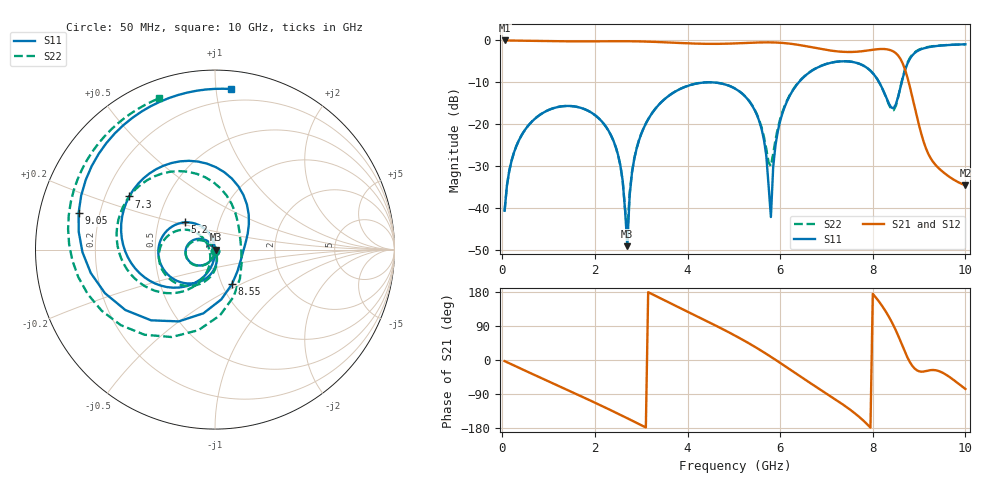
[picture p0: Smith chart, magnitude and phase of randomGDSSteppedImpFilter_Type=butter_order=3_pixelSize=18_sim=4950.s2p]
! freq	dB(S11)	phase(S11)	dB(S12)	phase(S12)
!  dB(S21)	phase(S21)	dB(S22)	phase(S22)
!S-par simulation data
#  GHz  S  DB  R 50
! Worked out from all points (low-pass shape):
!   200 points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, 50 MHz to 10 GHz, reference 50 ohm
!   highest |S21| = -0.01 dB at 50 MHz (marker M1); lowest = -34.6 dB at 10 GHz (marker M2)
!   |S21| within 3 dB of the highest: start of sweep to 8.494 GHz
!   lowest |S11| = -49.1 dB at 2.7 GHz (marker M3), VSWR 1.01, Z = 50.3 - j0.0508 ohm
!   |S11| at or under -10 dB: start of sweep to 4.426 GHz; 4.513 GHz to 6.402 GHz (1.889 GHz wide, 34.6 % of centre); 8.137 GHz to 8.624 GHz (486.6 MHz wide, 5.81 % of centre)
!   |S22| runs from -46.0 to -0.9 dB; largest |S21 - S12| = 0
!   S11 on the Smith chart (normalised r, x): 50 MHz: 1.00, -0.02; 5.2 GHz: 0.68, +0.22; 7.3 GHz: 0.30, +0.26; 8.55 GHz: 1.11, -0.45; 9.05 GHz: 0.12, +0.13; 10 GHz: 0.12, +1.10
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0.05  -40.64 -91.4  -0.01 -2.9  -0.01 -2.9  -40.64 -91.3
0.55  -20.47 -122.0  -0.08 -31.3  -0.08 -31.3  -20.46 -121.1
1.75  -16.29 169.4  -0.22 -98.4  -0.22 -98.4  -16.30 172.7
2.45  -25.43 128.0  -0.18 -138.8  -0.18 -138.8  -25.46 135.5
2.7  -49.09 -8.3  -0.19 -153.7  -0.19 -153.7  -45.96 -124.9
2.75  -37.01 -66.7  -0.19 -156.8  -0.19 -156.8  -36.52 -79.3
2.9  -25.83 -77.9  -0.22 -165.8  -0.22 -165.8  -25.73 -78.2
3.4  -15.12 -109.3  -0.39 163.7  -0.39 163.7  -15.09 -105.2
5.05  -11.66 148.3  -0.70 62.8  -0.70 62.8  -11.63 160.3
5.2  -12.90 138.0  -0.64 52.7  -0.64 52.7  -12.86 151.7
5.6  -21.18 108.7  -0.47 24.0  -0.47 24.0  -20.81 135.8
5.8  -42.15 -137.7  -0.47 8.5  -0.47 8.5  -29.98 -155.1
5.85  -30.16 -92.3  -0.48 4.5  -0.48 4.5  -27.00 -125.9
6  -19.23 -104.1  -0.55 -7.6  -0.55 -7.6  -18.80 -109.3
6.7  -7.13 -162.6  -1.67 -64.8  -1.67 -64.8  -7.08 -152.8
7.3  -5.00 148.2  -2.68 -112.8  -2.68 -112.8  -4.98 162.8
8  -7.81 76.7  -2.23 174.6  -2.23 174.6  -7.80 97.8
8.35  -15.11 13.2  -2.22 113.6  -2.22 113.6  -15.35 37.5
8.55  -13.34 -64.0  -3.63 63.8  -3.63 63.8  -13.46 -49.1
8.75  -5.50 -132.1  -8.91 6.3  -8.91 6.3  -5.29 -116.3
9.05  -2.08 164.9  -22.38 -30.8  -22.38 -30.8  -1.97 -175.7
10  -0.92 84.2  -34.57 -76.5  -34.57 -76.5  -0.93 110.3
